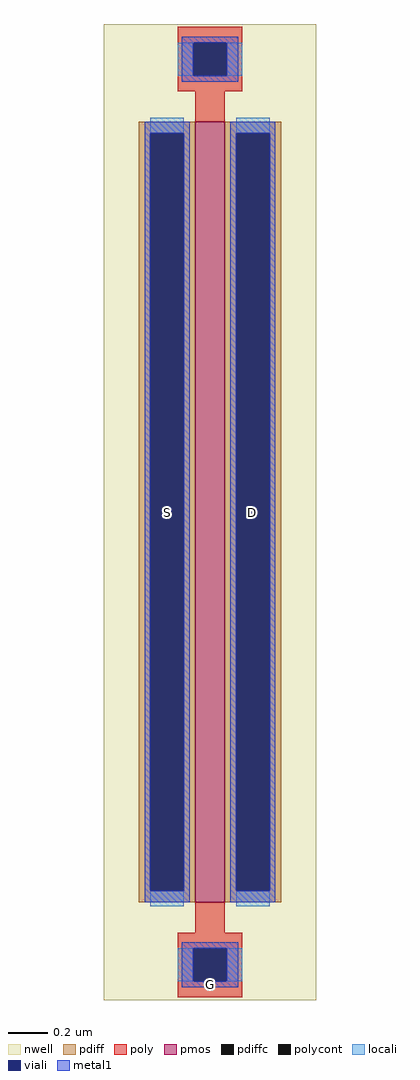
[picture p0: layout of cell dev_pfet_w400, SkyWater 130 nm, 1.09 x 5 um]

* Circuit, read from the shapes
.subckt dev_pfet_w400 G S D
XM1 D G S n1 sky130_fd_pr__pfet_01v8 w=4 l=0.15
.ends

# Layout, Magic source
magic
tech sky130B
magscale 1 2
<< nwell >>
rect -109 -500 109 500
<< pmos >>
rect -15 -400 15 400
<< pdiff >>
rect -73 388 -15 400
rect -73 -388 -61 388
rect -27 -388 -15 388
rect -73 -400 -15 -388
rect 15 388 73 400
rect 15 -388 27 388
rect 61 -388 73 388
rect 15 -400 73 -388
<< pdiffc >>
rect -61 -388 -27 388
rect 27 -388 61 388
<< poly >>
rect -33 481 33 497
rect -33 447 -17 481
rect 17 447 33 481
rect -33 431 33 447
rect -15 400 15 431
rect -15 -431 15 -400
rect -33 -447 33 -431
rect -33 -481 -17 -447
rect 17 -481 33 -447
rect -33 -497 33 -481
<< polycont >>
rect -17 447 17 481
rect -17 -481 17 -447
<< locali >>
rect -33 447 -17 481
rect 17 447 33 481
rect -61 388 -27 404
rect -61 -404 -27 -388
rect 27 388 61 404
rect 27 -404 61 -388
rect -33 -481 -17 -447
rect 17 -481 33 -447
<< viali >>
rect -17 447 17 481
rect -61 -388 -27 388
rect 27 -388 61 388
rect -17 -481 17 -447
<< metal1 >>
rect -29 481 29 487
rect -29 447 -17 481
rect 17 447 29 481
rect -29 441 29 447
rect -67 388 -21 400
rect -67 -388 -61 388
rect -27 -388 -21 388
rect -67 -400 -21 -388
rect 21 388 67 400
rect 21 -388 27 388
rect 61 -388 67 388
rect 21 -400 67 -388
rect -29 -447 29 -441
rect -29 -481 -17 -447
rect 17 -481 29 -447
rect -29 -487 29 -481
<< labels >>
flabel metal1 s -29 -487 29 -481 0 FreeSans 16 0 0 0 G
port 0 nsew
flabel metal1 s -67 -400 -21 400 0 FreeSans 16 0 0 0 S
port 1 nsew
flabel metal1 s 21 -400 67 400 0 FreeSans 16 0 0 0 D
port 2 nsew
<< end >>
